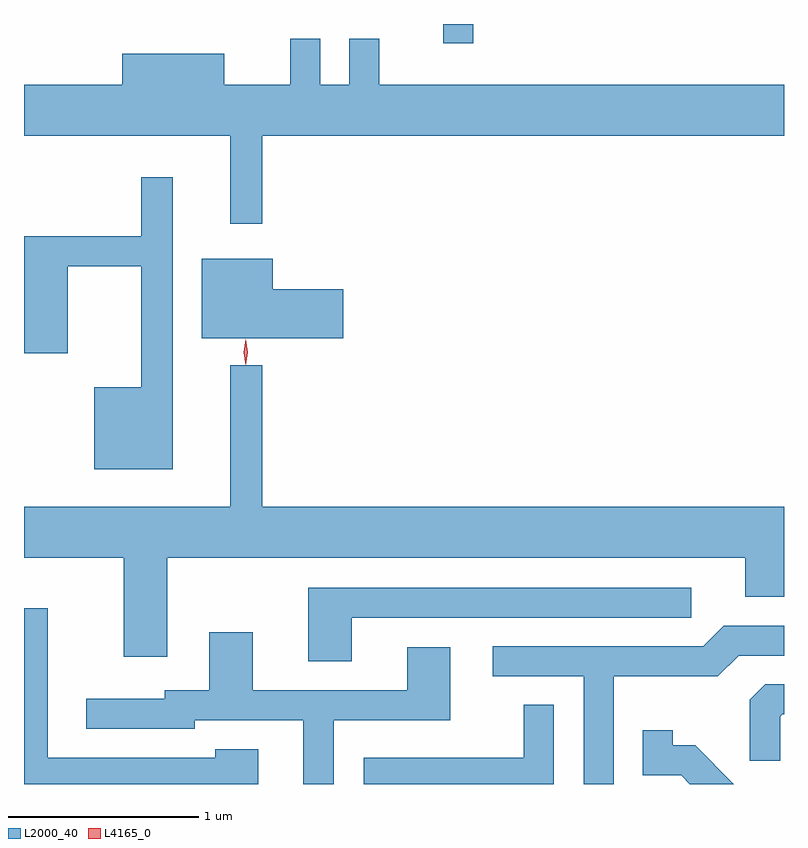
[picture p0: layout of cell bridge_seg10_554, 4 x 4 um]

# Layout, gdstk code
import gdstk
lib = gdstk.Library(unit=1e-6, precision=1e-09)
def R(c, l, rs):  # rectangles x0, y0, x1, y1
    for r in rs: c.add(gdstk.rectangle(r[:2], r[2:], *l))
def P(c, l, *ps):  # polygons
    for p in ps: c.add(gdstk.Polygon(p, *l))
L2000_40 = (2000, 40)
L4165_0 = (4165, 0)

bridge_seg10_554 = lib.new_cell('bridge_seg10_554')
R(bridge_seg10_554, L2000_40, [(820.971,2165.463,821.129,2165.565)])
P(bridge_seg10_554, L2000_40, [(820.019,2164.976),(822.765,2164.976),(822.765,2165.244),(820.634,2165.244),(820.634,2165.488),(820.476,2165.488),(820.476,2165.244),(820.324,2165.244),(820.324,2165.488),(820.166,2165.488),(820.166,2165.244),(819.819,2165.244),(819.819,2165.409),(819.281,2165.409),(819.281,2165.244),(818.765,2165.244),(818.765,2164.976),(819.851,2164.976),(819.851,2164.513),(820.019,2164.513)],
  [(819.549,2164.758),(819.381,2164.758),(819.381,2164.449),(818.765,2164.449),(818.765,2163.831),(818.994,2163.831),(818.994,2164.291),(819.381,2164.291),(819.381,2163.654),(819.136,2163.654),(819.136,2163.221),(819.549,2163.221)],
  [(820.444,2164.169),(820.074,2164.169),(820.074,2164.329),(819.701,2164.329),(819.701,2163.911),(820.444,2163.911)],
  [(819.519,2162.756),(822.561,2162.756),(822.561,2162.551),(822.765,2162.551),(822.765,2163.024),(820.019,2163.024),(820.019,2163.768),(819.851,2163.768),(819.851,2163.024),(818.765,2163.024),(818.765,2162.756),(819.291,2162.756),(819.291,2162.236),(819.519,2162.236)],
  [(820.489,2162.441),(822.278,2162.441),(822.278,2162.599),(820.261,2162.599),(820.261,2162.211),(820.489,2162.211)],
  [(819.999,2161.749),(819.771,2161.749),(819.771,2161.704),(818.889,2161.704),(818.889,2162.489),(818.765,2162.489),(818.765,2161.565),(819.999,2161.565)],
  [(821.869,2162.131),(822.417,2162.131),(822.527,2162.241),(822.765,2162.241),(822.765,2162.399),(822.449,2162.399),(822.339,2162.289),(821.233,2162.289),(821.233,2162.131),(821.711,2162.131),(821.711,2161.565),(821.869,2161.565)],
  [(820.394,2161.901),(821.009,2161.901),(821.009,2162.284),(820.781,2162.284),(820.781,2162.059),(819.969,2162.059),(819.969,2162.364),(819.741,2162.364),(819.741,2162.059),(819.506,2162.059),(819.506,2162.014),(819.093,2162.014),(819.093,2161.856),(819.664,2161.856),(819.664,2161.901),(820.236,2161.901),(820.236,2161.565),(820.394,2161.565)],
  [(822.744,2161.919),(822.757,2161.931),(822.765,2161.931),(822.765,2162.089),(822.667,2162.089),(822.586,2162.009),(822.586,2161.688),(822.744,2161.688)],
  [(821.554,2161.983),(821.396,2161.983),(821.396,2161.704),(820.553,2161.704),(820.553,2161.565),(821.554,2161.565)],
  [(822.297,2161.769),(822.179,2161.769),(822.179,2161.848),(822.021,2161.848),(822.021,2161.611),(822.224,2161.611),(822.27,2161.565),(822.501,2161.565)])
P(bridge_seg10_554, L4165_0, [(819.932,2163.77),(819.922,2163.838),(819.931,2163.905),(819.932,2163.906),(819.932,2163.905),(819.942,2163.838),(819.933,2163.77),(819.933,2163.77)],
  [(819.933,2163.773),(819.932,2163.774),(819.922,2163.836),(819.932,2163.899),(819.932,2163.9),(819.933,2163.899),(819.942,2163.836),(819.933,2163.774)])

lib.write_gds('bridge_seg10_554.gds')
